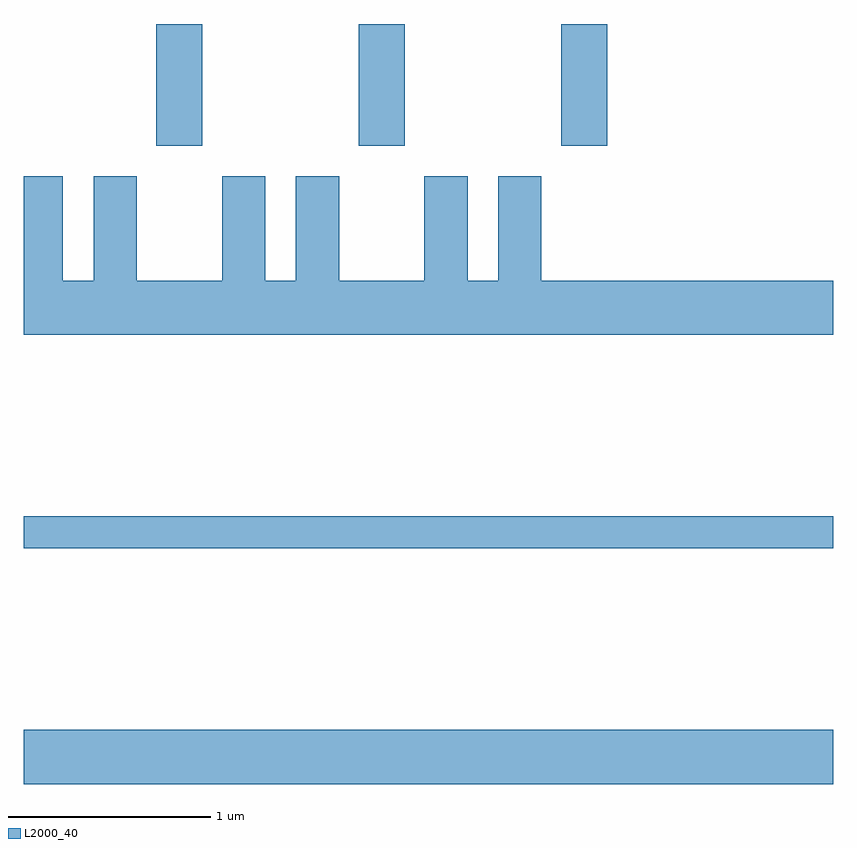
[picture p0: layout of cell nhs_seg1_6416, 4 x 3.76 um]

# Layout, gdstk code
import gdstk
lib = gdstk.Library(unit=1e-6, precision=1e-09)
def R(c, l, rs):  # rectangles x0, y0, x1, y1
    for r in rs: c.add(gdstk.rectangle(r[:2], r[2:], *l))
def A(c, l, x, y, w, h, nx, ny, dx, dy):  # array of equal rectangles
    R(c, l, [(x+i*dx, y+j*dy, x+i*dx+w, y+j*dy+h) for i in range(nx) for j in range(ny)])
def P(c, l, *ps):  # polygons
    for p in ps: c.add(gdstk.Polygon(p, *l))
L2000_40 = (2000, 40)

nhs_seg1_6416 = lib.new_cell('nhs_seg1_6416')
A(nhs_seg1_6416, L2000_40, 378.266, 967.111, 0.228, 0.601, 3, 1, 1, 0)
R(nhs_seg1_6416, L2000_40, [(377.611,963.956,381.611,964.224), (377.611,965.121,381.611,965.279)])
P(nhs_seg1_6416, L2000_40, [(381.611,966.444),(380.169,966.444),(380.169,966.959),(379.956,966.959),(379.956,966.444),(379.804,966.444),(379.804,966.959),(379.591,966.959),(379.591,966.444),(379.169,966.444),(379.169,966.959),(378.956,966.959),(378.956,966.444),(378.804,966.444),(378.804,966.959),(378.591,966.959),(378.591,966.444),(378.169,966.444),(378.169,966.959),(377.956,966.959),(377.956,966.444),(377.804,966.444),(377.804,966.959),(377.611,966.959),(377.611,966.176),(381.611,966.176)])

lib.write_gds('nhs_seg1_6416.gds')
